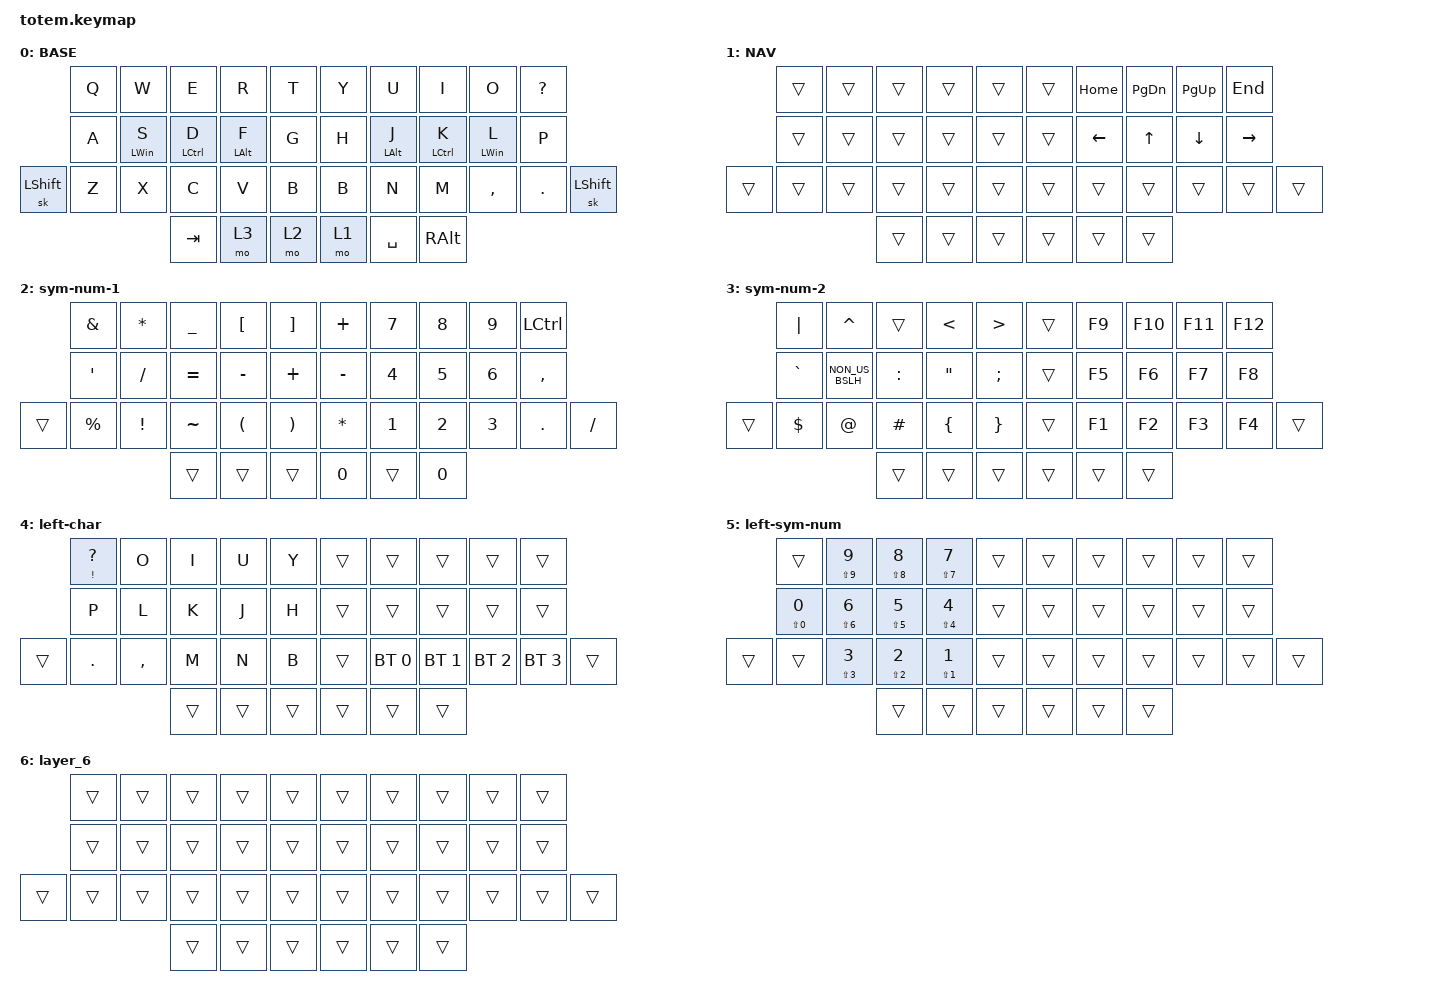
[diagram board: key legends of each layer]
//
//                                                        ▀▀▀▀▀     ▀▀▀▀▀          ▀▀█▀▀
//                                                        ▄▀▀▀▄  ▄  ▄▀▀▀▄  ▄  ▄▀▀▀▄  █  ▄▀▀▀▄
//                                                        █   █  █  █   █  █  █   █  █  █   █
//                                                         ▀▀▀   █   ▀▀▀   █   ▀▀▀   ▀   ▀▀▀
//                                                               █      ▄▄▄█▄▄▄    █   █  
//                                                               ▀      █  █  █     █▄█
//                                                             ▀▀▀▀▀    █  █  █      ▀
//                                                                      ▀  ▀  ▀
//
// ▄▄▄▄▄▄▄▄▄▄▄▄▄▄▄▄▄▄▄▄▄▄▄▄▄▄▄▄▄▄▄▄▄▄▄▄▄▄▄▄▄▄▄▄▄▄▄▄▄▄▄▄▄▄▄▄▄▄▄▄▄▄▄▄▄▄▄▄▄▄▄▄▄▄▄▄▄▄▄▄▄▄▄▄▄▄▄▄▄▄▄▄▄▄▄▄▄▄▄▄▄▄▄▄▄▄▄▄▄▄▄▄▄▄▄▄▄▄▄▄▄▄▄▄▄▄▄▄▄▄▄▄▄▄▄▄▄▄▄▄▄▄▄▄▄▄▄▄▄

#include <behaviors.dtsi>
#include <dt-bindings/zmk/bt.h>
#include <dt-bindings/zmk/keys.h>

#define BASE 0
#define NAV  1
#define SYM  2
#define ADJ  3
#define TVP1 4
#define TVP2 5

&mt {
    quick-tap-ms = <100>;
    global-quick-tap;
    flavor = "tap-preferred";
    tapping-term-ms = <170>;
};

/ {
    combos {
        compatible = "zmk,combos";

        clear_all_bt {
            bindings = <&bt BT_CLR_ALL>;
            key-positions = <27 28 29 30 34 33>;
        };

        enter {
            bindings = <&kp ENTER>;
            key-positions = <7 6>;
        };

        right-esc {
            bindings = <&kp ESCAPE>;
            key-positions = <8 9>;
        };

        left-esc {
            bindings = <&kp ESCAPE>;
            key-positions = <0 1>;
        };

        right-bsp {
            bindings = <&kp BACKSPACE>;
            key-positions = <27 28>;
        };

        left-bsp {
            bindings = <&kp BACKSPACE>;
            key-positions = <24 23>;
        };

        left-enter {
            bindings = <&kp ENTER>;
            key-positions = <3 2>;
        };

        left-hanja {
            bindings = <&kp RCTRL>;
            key-positions = <1 2>;
        };

        left-del {
            bindings = <&kp DELETE>;
            key-positions = <23 22>;
        };

        combo-layer {
            bindings = <&mo 4>;
            key-positions = <33 34>;
        };

        right-del {
            bindings = <&kp DELETE>;
            key-positions = <29 28>;
        };

        right-caps {
            bindings = <&kp CAPSLOCK>;
            key-positions = <7 8>;
        };

        left-sp {
            bindings = <&kp SPACE>;
            key-positions = <23 22 24>;
        };
    };

    behaviors {
        shiftalt_bsp: shiftalt_bsp {
            compatible = "zmk,behavior-tap-dance";
            label = "SHIFTALT_BSP";
            #binding-cells = <0>;
            tapping-term-ms = <170>;
            bindings = <&mt LS(LEFT_ALT) BACKSPACE>, <&kp BACKSPACE>;
        };

        ctrlshift_enter: ctrlshift_enter {
            compatible = "zmk,behavior-tap-dance";
            label = "CTRLSHIFT_ENTER";
            #binding-cells = <0>;
            tapping-term-ms = <170>;
            bindings = <&mt LS(LEFT_ALT) ENTER>, <&kp ENTER>;
        };
    };

    keymap {
        compatible = "zmk,keymap";

        // ▄▄▄▄▄▄▄▄▄▄▄▄▄▄▄▄▄▄▄▄▄▄▄▄▄▄▄▄▄▄▄▄▄▄▄▄▄▄▄▄▄▄▄▄▄▄▄▄▄▄▄▄▄▄▄▄▄▄▄▄▄▄▄▄▄▄▄▄▄▄▄▄▄▄▄▄▄▄▄▄▄▄▄▄▄▄▄▄▄▄▄▄▄▄▄▄▄▄▄▄▄▄▄▄▄▄▄▄▄▄▄▄▄▄▄▄▄▄▄▄▄▄▄▄▄▄▄▄▄▄▄▄▄▄▄▄▄▄▄▄▄▄▄▄▄▄▄▄▄

        base_layer {
            // ┏━━━━━━━━━━━━━━━━━━━━━━━━━━━━━━━━━━━━━━━┓

            label = "BASE";

            // ┗━━━━━━━━━━━━━━━━━━━━━━━━━━━━━━━━━━━━━━━┛
            //             ┏━━━━━━━━━━━┳━━━━━━━━━━━┳━━━━━━━━━━━┳━━━━━━━━━━━┳━━━━━━━━━━━┓   ┏━━━━━━━━━━━┳━━━━━━━━━━━┳━━━━━━━━━━━┳━━━━━━━━━━━┳━━━━━━━━━━━┓
            //             ┃     Q     ┃     W     ┃     F     ┃     P     ┃     G     ┃   ┃     J     ┃     L     ┃     U     ┃     Y     ┃     ;     ┃
            //             ┣━━━━━━━━━━━╋━━━━━━━━━━━╋━━━━━━━━━━━╋━━━━━━━━━━━╋━━━━━━━━━━━┫   ┣━━━━━━━━━━━╋━━━━━━━━━━━╋━━━━━━━━━━━╋━━━━━━━━━━━╋━━━━━━━━━━━┫
            //             ┃     A     ┃     R     ┃     S     ┃     T     ┃     D     ┃   ┃     H     ┃     N     ┃     E     ┃     I     ┃     O     ┃
            // ┏━━━━━━━━━━━╋━━━━━━━━━━━╋━━━━━━━━━━━╋━━━━━━━━━━━╋━━━━━━━━━━━╋━━━━━━━━━━━┫   ┣━━━━━━━━━━━╋━━━━━━━━━━━╋━━━━━━━━━━━╋━━━━━━━━━━━╋━━━━━━━━━━━╋━━━━━━━━━━━┓
            // ┃     Q     ┃     Z     ┃     X     ┃     C     ┃     V     ┃     B     ┃   ┃     K     ┃     M     ┃     ,     ┃     .     ┃     /     ┃     \     ┃
            // ┗━━━━━━━━━━━┻━━━━━━━━━━━┻━━━━━━━━━━━╋━━━━━━━━━━━╋━━━━━━━━━━━╋━━━━━━━━━━━┫   ┣━━━━━━━━━━━╋━━━━━━━━━━━╋━━━━━━━━━━━╋━━━━━━━━━━━┻━━━━━━━━━━━┻━━━━━━━━━━━┛
            //                                     ┃    DEL    ┃    TAB    ┃    SPC    ┃   ┃   ENTER   ┃           ┃   BSPC    ┃
            //                                     ┗━━━━━━━━━━━┻━━━━━━━━━━━┻━━━━━━━━━━━┛   ┗━━━━━━━━━━━┻━━━━━━━━━━━┻━━━━━━━━━━━┛

            bindings = <
                &kp Q  &kp W       &kp E        &kp R           &kp T    &kp Y  &kp U           &kp I          &kp O       &kp QUESTION
                &kp A  &mt LWIN S  &mt LCTRL D  &mt LEFT_ALT F  &kp G    &kp H  &mt LEFT_ALT J  &mt LCTRL K    &mt LWIN L  &kp P
&sk LEFT_SHIFT  &kp Z  &kp X       &kp C        &kp V           &kp B    &kp B  &kp N           &kp M          &kp COMMA   &kp PERIOD    &sk LEFT_SHIFT
                                   &kp TAB      &mo 3           &mo 2    &mo 1  &kp SPACE       &kp RIGHT_ALT
            >;
        };

        NAV {
            bindings = <
        &trans  &trans  &trans  &trans  &trans    &trans  &kp HOME  &kp PAGE_DOWN  &kp PG_UP       &kp END
        &trans  &trans  &trans  &trans  &trans    &trans  &kp LEFT  &kp UP_ARROW   &kp DOWN_ARROW  &kp RIGHT
&trans  &trans  &trans  &trans  &trans  &trans    &trans  &trans    &trans         &trans          &trans     &trans
                        &trans  &trans  &trans    &trans  &trans    &trans
            >;
        };

        sym-num-1 {
            // ┏━━━━━━━━━━━━━━━━━━━━━━━━━━━━━━━━━━━━━━━┓

            label = "sym-num-1";

            // ┗━━━━━━━━━━━━━━━━━━━━━━━━━━━━━━━━━━━━━━━┛
            //             ┏━━━━━━━━━━━┳━━━━━━━━━━━┳━━━━━━━━━━━┳━━━━━━━━━━━┳━━━━━━━━━━━┓   ┏━━━━━━━━━━━┳━━━━━━━━━━━┳━━━━━━━━━━━┳━━━━━━━━━━━┳━━━━━━━━━━━┓
            //             ┃           ┃           ┃     UP    ┃           ┃     {     ┃   ┃     }     ┃     7     ┃     8     ┃     9     ┃     +     ┃
            //             ┣━━━━━━━━━━━╋━━━━━━━━━━━╋━━━━━━━━━━━╋━━━━━━━━━━━╋━━━━━━━━━━━┫   ┣━━━━━━━━━━━╋━━━━━━━━━━━╋━━━━━━━━━━━╋━━━━━━━━━━━╋━━━━━━━━━━━┫
            //             ┃   SHIFT   ┃   LEFT    ┃    DOWN   ┃   RIGHT   ┃     [     ┃   ┃     ]     ┃     4     ┃     5     ┃     6     ┃     -     ┃
            // ┏━━━━━━━━━━━╋━━━━━━━━━━━╋━━━━━━━━━━━╋━━━━━━━━━━━╋━━━━━━━━━━━╋━━━━━━━━━━━┫   ┣━━━━━━━━━━━╋━━━━━━━━━━━╋━━━━━━━━━━━╋━━━━━━━━━━━╋━━━━━━━━━━━╋━━━━━━━━━━━┓
            // ┃           ┃           ┃   P UP    ┃  C LOCK   ┃  P DOWN   ┃     (     ┃   ┃     )     ┃     1     ┃     2     ┃     3     ┃     *     ┃           ┃
            // ┗━━━━━━━━━━━┻━━━━━━━━━━━┻━━━━━━━━━━━╋━━━━━━━━━━━╋━━━━━━━━━━━╋━━━━━━━━━━━┫   ┣━━━━━━━━━━━╋━━━━━━━━━━━╋━━━━━━━━━━━╋━━━━━━━━━━━┻━━━━━━━━━━━┻━━━━━━━━━━━┛
            //                                     ┃           ┃    TAB    ┃    SPC    ┃   ┃    DEL    ┃     0     ┃           ┃
            //                                     ┗━━━━━━━━━━━┻━━━━━━━━━━━┻━━━━━━━━━━━┛   ┗━━━━━━━━━━━┻━━━━━━━━━━━┻━━━━━━━━━━━┛

            bindings = <
        &kp AMPS          &kp ASTERISK     &kp UNDERSCORE  &kp LEFT_BRACKET      &kp RIGHT_BRACKET        &kp PLUS      &kp N7        &kp N8        &kp N9        &kp LCTRL
        &kp SINGLE_QUOTE  &kp SLASH        &kp EQUAL       &kp MINUS             &kp PLUS                 &kp MINUS     &kp NUMBER_4  &kp N5        &kp NUMBER_6  &kp COMMA
&trans  &kp PERCENT       &kp EXCLAMATION  &kp TILDE       &kp LEFT_PARENTHESIS  &kp RIGHT_PARENTHESIS    &kp ASTERISK  &kp NUMBER_1  &kp NUMBER_2  &kp NUMBER_3  &kp PERIOD  &kp SLASH
                                           &trans          &trans                &trans                   &kp N0        &trans        &kp N0
            >;
        };

        sym-num-2 {
            bindings = <
        &kp PIPE    &kp CARET        &trans     &kp LESS_THAN      &kp GREATER_THAN    &trans  &kp F9  &kp F10  &kp F11  &kp F12
        &kp GRAVE   &kp NON_US_BSLH  &kp COLON  &kp DOUBLE_QUOTES  &kp SEMICOLON       &trans  &kp F5  &kp F6   &kp F7   &kp F8
&trans  &kp DOLLAR  &kp AT           &kp HASH   &kp LEFT_BRACE     &kp RIGHT_BRACE     &trans  &kp F1  &kp F2   &kp F3   &kp F4   &trans
                                     &trans     &trans             &trans              &trans  &trans  &trans
            >;

            label = "sym-num-2";
        };

        left-char {
            bindings = <
        &mt EXCLAMATION QUESTION  &kp O      &kp I   &kp U   &kp Y     &trans  &trans        &trans        &trans        &trans
        &kp P                     &kp L      &kp K   &kp J   &kp H     &trans  &trans        &trans        &trans        &trans
&trans  &kp PERIOD                &kp COMMA  &kp M   &kp N   &kp B     &trans  &bt BT_SEL 0  &bt BT_SEL 1  &bt BT_SEL 2  &bt BT_SEL 3  &trans
                                             &trans  &trans  &trans    &trans  &trans        &trans
            >;
        };

        left-sym-num {
            bindings = <
        &trans         &mt LS(N9) N9              &mt LS(N8) N8              &mt LS(N7) N7              &trans    &trans  &trans  &trans  &trans  &trans
        &mt LS(N0) N0  &mt LS(NUMBER_6) NUMBER_6  &mt LS(N5) N5              &mt LS(NUMBER_4) NUMBER_4  &trans    &trans  &trans  &trans  &trans  &trans
&trans  &trans         &mt LS(NUMBER_3) NUMBER_3  &mt LS(NUMBER_2) NUMBER_2  &mt LS(NUMBER_1) N1        &trans    &trans  &trans  &trans  &trans  &trans  &trans
                                                  &trans                     &trans                     &trans    &trans  &trans  &trans
            >;
        };

        layer_6 {
            bindings = <
        &trans  &trans  &trans  &trans  &trans    &trans  &trans  &trans  &trans  &trans
        &trans  &trans  &trans  &trans  &trans    &trans  &trans  &trans  &trans  &trans
&trans  &trans  &trans  &trans  &trans  &trans    &trans  &trans  &trans  &trans  &trans  &trans
                        &trans  &trans  &trans    &trans  &trans  &trans
            >;
        };
    };
};
